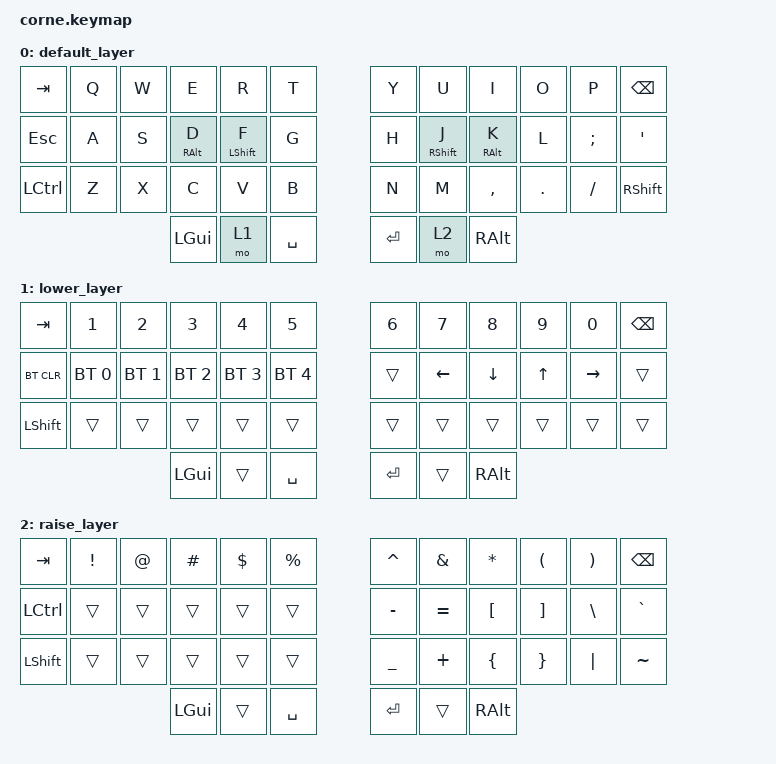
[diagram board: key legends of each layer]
/*
 * Copyright (c) 2020 The ZMK Contributors
 *
 * SPDX-License-Identifier: MIT
 */

#include <behaviors.dtsi>
#include <dt-bindings/zmk/keys.h>
#include <dt-bindings/zmk/bt.h>

/ {
        behaviors {
          hm: homerow_mods {
              compatible = "zmk,behavior-hold-tap";
              #binding-cells = <2>;
              tapping-term-ms = <150>;
              quick-tap-ms = <0>;
              flavor = "tap-preferred";
              bindings = <&kp>, <&kp>;
          };
        };
        keymap {
                compatible = "zmk,keymap";

                default_layer {
// -----------------------------------------------------------------------------------------
// |  TAB |  Q  |  W  |  E  |  R  |  T  |   |  Y  |  U   |  I  |  O  |  P  | BSPC |
// | CTRL |  A  |  S  |  D  |  F  |  G  |   |  H  |  J   |  K  |  L  |  ;  |  '   |
// | SHFT |  Z  |  X  |  C  |  V  |  B  |   |  N  |  M   |  ,  |  .  |  /  | ESC  |
//                    | GUI | LWR | SPC |   | ENT | RSE  | ALT |
                        bindings = <
   &kp TAB   &kp Q &kp W &kp E &kp R &kp T     &kp Y              &kp U   &kp I     &kp O    &kp P    &kp BSPC
   &kp ESC   &kp A &kp S &hm RALT D &hm LSHIFT F &kp G      &kp H   &hm RSHIFT J &hm RALT K &kp L   &kp SEMI &kp SQT
   &kp LCTRL &kp Z &kp X &kp C &kp V &kp B     &kp N              &kp M   &kp COMMA &kp DOT  &kp FSLH &kp RSHIFT
                  &kp LGUI &mo 1 &kp SPACE                        &kp RET &mo 2     &kp RALT
                        >;
                };
                lower_layer {
// -----------------------------------------------------------------------------------------
// |  TAB |  1  |  2  |  3  |  4  |  5  |   |  6  |  7  |  8  |  9  |  0  | BSPC |
// | BTCLR| BT1 | BT2 | BT3 | BT4 | BT5 |   | LFT | DWN |  UP | RGT |     |      |
// | SHFT |     |     |     |     |     |   |     |     |     |     |     |      |
//                    | GUI |     | SPC |   | ENT |     | ALT |
                        bindings = <
   &kp TAB    &kp N1       &kp N2       &kp N3       &kp N4       &kp N5         &kp N6   &kp N7   &kp N8   &kp N9  &kp N0    &kp BSPC
   &bt BT_CLR &bt BT_SEL 0 &bt BT_SEL 1 &bt BT_SEL 2 &bt BT_SEL 3 &bt BT_SEL 4   &trans   &kp LEFT &kp DOWN &kp UP  &kp RIGHT &trans
   &kp LSHFT  &trans       &trans       &trans       &trans       &trans         &trans   &trans   &trans   &trans  &trans    &trans
                                    &kp LGUI     &trans       &kp SPACE      &kp RET  &trans   &kp RALT
                        >;
                };

                raise_layer {
// -----------------------------------------------------------------------------------------
// |  TAB |  !  |  @  |  #  |  $  |  %  |   |  ^  |  &  |  *  |  (  |  )  | BSPC |
// | CTRL |     |     |     |     |     |   |  -  |  =  |  [  |  ]  |  \  |  `   |
// | SHFT |     |     |     |     |     |   |  _  |  +  |  {  |  }  | "|" |  ~   |
//                    | GUI |     | SPC |   | ENT |     | ALT |
                        bindings = <
   &kp  TAB  &kp EXCL &kp AT &kp HASH &kp DLLR &kp PRCNT   &kp CARET &kp AMPS  &kp ASTRK &kp LPAR &kp RPAR &kp BSPC
   &kp LCTRL &trans   &trans &trans   &trans   &trans      &kp MINUS &kp EQUAL &kp LBKT  &kp RBKT &kp BSLH &kp GRAVE
   &kp LSHFT &trans   &trans &trans   &trans   &trans      &kp UNDER &kp PLUS  &kp LBRC  &kp RBRC &kp PIPE &kp TILDE
                             &kp LGUI &trans   &kp SPACE   &kp RET   &trans    &kp RALT
                        >;
                };
        };
};
